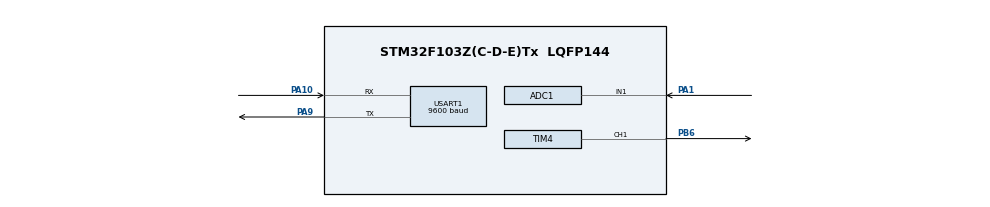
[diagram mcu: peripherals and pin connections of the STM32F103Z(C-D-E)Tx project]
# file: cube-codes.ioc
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ADC1.Channel-8\#ChannelRegularConversion=ADC_CHANNEL_1
ADC1.Channel-9\#ChannelInjectedConversion=ADC_CHANNEL_1
ADC1.ContinuousConvMode=ENABLE
ADC1.DataAlign=ADC_DATAALIGN_RIGHT
ADC1.DiscontinuousConvMode=DISABLE
ADC1.EnableAnalogWatchDog=false
ADC1.EnableRegularConversion=ENABLE
ADC1.ExternalTrigConv=ADC_SOFTWARE_START
ADC1.ExternalTrigInjecConv=ADC_INJECTED_SOFTWARE_START
ADC1.InjNumberOfConversion=1
ADC1.InjectedConvMode=None
ADC1.InjectedOffset-9\#ChannelInjectedConversion=0
ADC1.NbrOfConversion=1
ADC1.NbrOfConversionFlag=1
ADC1.Rank-8\#ChannelRegularConversion=1
ADC1.Rank-9\#ChannelInjectedConversion=1
ADC1.SamplingTime-8\#ChannelRegularConversion=ADC_SAMPLETIME_1CYCLE_5
ADC1.SamplingTime-9\#ChannelInjectedConversion=ADC_SAMPLETIME_1CYCLE_5
ADC1.ScanConvMode=ADC_SCAN_DISABLE
ADC1.master=1
Mcu.Family=STM32F1
Mcu.Name=STM32F103Z(C-D-E)Tx
Mcu.Package=LQFP144
NVIC.PriorityGroup=NVIC_PRIORITYGROUP_4
NVIC.USART1_IRQn=true\:0\:0\:false\:false\:true\:true
PA1.Signal=ADCx_IN1
PA10.Mode=Asynchronous
PA10.Signal=USART1_RX
PA9.Mode=Asynchronous
PA9.Signal=USART1_TX
PB6.Signal=S_TIM4_CH1
ProjectManager.HeapSize=0x200
ProjectManager.StackSize=0x400
ProjectManager.TargetToolchain=SW4STM32
RCC.APB1Freq_Value=8000000
RCC.APB2Freq_Value=8000000
SH.ADCx_IN1.0=ADC1_IN1,IN1
SH.S_TIM4_CH1.0=TIM4_CH1,PWM Generation1 CH1
TIM4.Channel-PWM\ Generation1\ CH1=TIM_CHANNEL_1
TIM4.Period=1000
TIM4.Prescaler=7200
USART1.BaudRate=9600
USART1.VirtualMode=VM_ASYNC
USART1.WordLength=WORDLENGTH_8B
VP_ADC1_TempSens_Input.Mode=IN-TempSens
VP_SYS_VS_ND.Mode=No_Debug
board=cube-codes

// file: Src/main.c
/**
  ******************************************************************************
  * @file           : main.c
  * @brief          : Main program body
  ******************************************************************************
  ** This notice applies to any and all portions of this file
  * that are not between comment pairs USER CODE BEGIN and
  * USER CODE END. Other portions of this file, whether
  * inserted by the user or by software development tools
  * are owned by their respective copyright owners.
  *
  * COPYRIGHT(c) 2018 STMicroelectronics
  *
  * Redistribution and use in source and binary forms, with or without modification,
  * are permitted provided that the following conditions are met:
  *   1. Redistributions of source code must retain the above copyright notice,
  *      this list of conditions and the following disclaimer.
  *   2. Redistributions in binary form must reproduce the above copyright notice,
  *      this list of conditions and the following disclaimer in the documentation
  *      and/or other materials provided with the distribution.
  *   3. Neither the name of STMicroelectronics nor the names of its contributors
  *      may be used to endorse or promote products derived from this software
  *      without specific prior written permission.
  *
  * THIS SOFTWARE IS PROVIDED BY THE COPYRIGHT HOLDERS AND CONTRIBUTORS "AS IS"
  * AND ANY EXPRESS OR IMPLIED WARRANTIES, INCLUDING, BUT NOT LIMITED TO, THE
  * IMPLIED WARRANTIES OF MERCHANTABILITY AND FITNESS FOR A PARTICULAR PURPOSE ARE
  * DISCLAIMED. IN NO EVENT SHALL THE COPYRIGHT HOLDER OR CONTRIBUTORS BE LIABLE
  * FOR ANY DIRECT, INDIRECT, INCIDENTAL, SPECIAL, EXEMPLARY, OR CONSEQUENTIAL
  * DAMAGES (INCLUDING, BUT NOT LIMITED TO, PROCUREMENT OF SUBSTITUTE GOODS OR
  * SERVICES; LOSS OF USE, DATA, OR PROFITS; OR BUSINESS INTERRUPTION) HOWEVER
  * CAUSED AND ON ANY THEORY OF LIABILITY, WHETHER IN CONTRACT, STRICT LIABILITY,
  * OR TORT (INCLUDING NEGLIGENCE OR OTHERWISE) ARISING IN ANY WAY OUT OF THE USE
  * OF THIS SOFTWARE, EVEN IF ADVISED OF THE POSSIBILITY OF SUCH DAMAGE.
  *
  ******************************************************************************
  */
#include "main.h"
#include "stm32f1xx_hal.h"
#include "dataConv.h"

ADC_HandleTypeDef hadc1;

TIM_HandleTypeDef htim4;

UART_HandleTypeDef huart1;

/* USER CODE BEGIN PV */
/* Private variables ---------------------------------------------------------*/

/* USER CODE END PV */

void SystemClock_Config(void);
static void MX_GPIO_Init(void);
static void MX_USART1_UART_Init(void);
static void MX_TIM4_Init(void);
static void MX_ADC1_Init(void);

void HAL_TIM_MspPostInit(TIM_HandleTypeDef *htim);

/* USER CODE BEGIN PFP */
/* Private function prototypes -----------------------------------------------*/

/* USER CODE END PFP */

int main(void)
{

  /* MCU Configuration----------------------------------------------------------*/

  /* Reset of all peripherals, Initializes the Flash interface and the Systick. */
  HAL_Init();

  /* Configure the system clock */
  SystemClock_Config();

  /* Initialize all configured peripherals */
  MX_GPIO_Init();
  MX_USART1_UART_Init();
  MX_TIM4_Init();
  MX_ADC1_Init();

  /* Infinite loop */
  /* USER CODE BEGIN WHILE */

  char dataId[10]="\n\n\n\n";
  uint32_t data[10]={1090,2034,1023,1023,1023};
  char dataBody[20]="\0";
  char dataFrame[dataFrameMaxLength]="\0";

  /*joinDataBody(dataBody,dataId,data);
  creatDataFrame(dataFrame,dataBody);*/

  char adcStr[6];
  uint16_t adcData[5];
  while (1)
  {
	  HAL_ADC_Start(&hadc1);

	  HAL_Delay(500);
	  dataFrame[0] = '\0';
	  HAL_ADC_PollForConversion(&hadc1,0xfff);
	  data[0]=HAL_ADC_GetValue(&hadc1);
/*
	  if(HAL_IS_BIT_SET(HAL_ADC_GetState(&hadc1), HAL_ADC_STATE_REG_EOC))
	  {
	  }*/

      joinDataBody(dataBody,dataId,data);
      creatDataFrame(dataFrame,dataBody);

      char *TxData;
      sprintf(TxData,)
	  HAL_UART_Transmit(&huart1,TxData,24,0xffff);

  /* USER CODE END WHILE */

  }

}

void SystemClock_Config(void)
{

  RCC_OscInitTypeDef RCC_OscInitStruct;
  RCC_ClkInitTypeDef RCC_ClkInitStruct;
  RCC_PeriphCLKInitTypeDef PeriphClkInit;

    /**Initializes the CPU, AHB and APB busses clocks
    */
  RCC_OscInitStruct.OscillatorType = RCC_OSCILLATORTYPE_HSI;
  RCC_OscInitStruct.HSIState = RCC_HSI_ON;
  RCC_OscInitStruct.HSICalibrationValue = 16;
  RCC_OscInitStruct.PLL.PLLState = RCC_PLL_NONE;
  if (HAL_RCC_OscConfig(&RCC_OscInitStruct) != HAL_OK)
  {
    _Error_Handler(__FILE__, __LINE__);
  }

    /**Initializes the CPU, AHB and APB busses clocks
    */
  RCC_ClkInitStruct.ClockType = RCC_CLOCKTYPE_HCLK|RCC_CLOCKTYPE_SYSCLK
                              |RCC_CLOCKTYPE_PCLK1|RCC_CLOCKTYPE_PCLK2;
  RCC_ClkInitStruct.SYSCLKSource = RCC_SYSCLKSOURCE_HSI;
  RCC_ClkInitStruct.AHBCLKDivider = RCC_SYSCLK_DIV1;
  RCC_ClkInitStruct.APB1CLKDivider = RCC_HCLK_DIV1;
  RCC_ClkInitStruct.APB2CLKDivider = RCC_HCLK_DIV1;

  if (HAL_RCC_ClockConfig(&RCC_ClkInitStruct, FLASH_LATENCY_0) != HAL_OK)
  {
    _Error_Handler(__FILE__, __LINE__);
  }

  PeriphClkInit.PeriphClockSelection = RCC_PERIPHCLK_ADC;
  PeriphClkInit.AdcClockSelection = RCC_ADCPCLK2_DIV2;
  if (HAL_RCCEx_PeriphCLKConfig(&PeriphClkInit) != HAL_OK)
  {
    _Error_Handler(__FILE__, __LINE__);
  }

    /**Configure the Systick interrupt time
    */
  HAL_SYSTICK_Config(HAL_RCC_GetHCLKFreq()/1000);

    /**Configure the Systick
    */
  HAL_SYSTICK_CLKSourceConfig(SYSTICK_CLKSOURCE_HCLK);

  /* SysTick_IRQn interrupt configuration */
  HAL_NVIC_SetPriority(SysTick_IRQn, 0, 0);
}

/* ADC1 init function */
static void MX_ADC1_Init(void)
{

  ADC_ChannelConfTypeDef sConfig;
  ADC_InjectionConfTypeDef sConfigInjected;

    /**Common config
    */
  hadc1.Instance = ADC1;
  hadc1.Init.ScanConvMode = ADC_SCAN_DISABLE;
  hadc1.Init.ContinuousConvMode = ENABLE;
  hadc1.Init.DiscontinuousConvMode = DISABLE;
  hadc1.Init.ExternalTrigConv = ADC_SOFTWARE_START;
  hadc1.Init.DataAlign = ADC_DATAALIGN_RIGHT;
  hadc1.Init.NbrOfConversion = 1;
  if (HAL_ADC_Init(&hadc1) != HAL_OK)
  {
    _Error_Handler(__FILE__, __LINE__);
  }

    /**Configure Regular Channel
    */
  sConfig.Channel = ADC_CHANNEL_1;
  sConfig.Rank = ADC_REGULAR_RANK_1;
  sConfig.SamplingTime = ADC_SAMPLETIME_1CYCLE_5;
  if (HAL_ADC_ConfigChannel(&hadc1, &sConfig) != HAL_OK)
  {
    _Error_Handler(__FILE__, __LINE__);
  }

    /**Configure Injected Channel
    */
  sConfigInjected.InjectedChannel = ADC_CHANNEL_1;
  sConfigInjected.InjectedRank = ADC_INJECTED_RANK_1;
  sConfigInjected.InjectedNbrOfConversion = 1;
  sConfigInjected.InjectedSamplingTime = ADC_SAMPLETIME_1CYCLE_5;
  sConfigInjected.ExternalTrigInjecConv = ADC_INJECTED_SOFTWARE_START;
  sConfigInjected.AutoInjectedConv = DISABLE;
  sConfigInjected.InjectedDiscontinuousConvMode = DISABLE;
  sConfigInjected.InjectedOffset = 0;
  if (HAL_ADCEx_InjectedConfigChannel(&hadc1, &sConfigInjected) != HAL_OK)
  {
    _Error_Handler(__FILE__, __LINE__);
  }

}

/* TIM4 init function */
static void MX_TIM4_Init(void)
{

  TIM_MasterConfigTypeDef sMasterConfig;
  TIM_OC_InitTypeDef sConfigOC;

  htim4.Instance = TIM4;
  htim4.Init.Prescaler = 7200;
  htim4.Init.CounterMode = TIM_COUNTERMODE_UP;
  htim4.Init.Period = 1000;
  htim4.Init.ClockDivision = TIM_CLOCKDIVISION_DIV1;
  htim4.Init.AutoReloadPreload = TIM_AUTORELOAD_PRELOAD_DISABLE;
  if (HAL_TIM_PWM_Init(&htim4) != HAL_OK)
  {
    _Error_Handler(__FILE__, __LINE__);
  }

  sMasterConfig.MasterOutputTrigger = TIM_TRGO_RESET;
  sMasterConfig.MasterSlaveMode = TIM_MASTERSLAVEMODE_DISABLE;
  if (HAL_TIMEx_MasterConfigSynchronization(&htim4, &sMasterConfig) != HAL_OK)
  {
    _Error_Handler(__FILE__, __LINE__);
  }

  sConfigOC.OCMode = TIM_OCMODE_PWM1;
  sConfigOC.Pulse = 0;
  sConfigOC.OCPolarity = TIM_OCPOLARITY_HIGH;
  sConfigOC.OCFastMode = TIM_OCFAST_DISABLE;
  if (HAL_TIM_PWM_ConfigChannel(&htim4, &sConfigOC, TIM_CHANNEL_1) != HAL_OK)
  {
    _Error_Handler(__FILE__, __LINE__);
  }

  HAL_TIM_MspPostInit(&htim4);

}

/* USART1 init function */
static void MX_USART1_UART_Init(void)
{

  huart1.Instance = USART1;
  huart1.Init.BaudRate = 9600;
  huart1.Init.WordLength = UART_WORDLENGTH_8B;
  huart1.Init.StopBits = UART_STOPBITS_1;
  huart1.Init.Parity = UART_PARITY_NONE;
  huart1.Init.Mode = UART_MODE_TX_RX;
  huart1.Init.HwFlowCtl = UART_HWCONTROL_NONE;
  huart1.Init.OverSampling = UART_OVERSAMPLING_16;
  if (HAL_UART_Init(&huart1) != HAL_OK)
  {
    _Error_Handler(__FILE__, __LINE__);
  }

}

/** Pinout Configuration
*/
static void MX_GPIO_Init(void)
{

  /* GPIO Ports Clock Enable */
  __HAL_RCC_GPIOA_CLK_ENABLE();
  __HAL_RCC_GPIOB_CLK_ENABLE();

}

void _Error_Handler(char *file, int line)
{
  while(1)
  {
  }
}

/************************ (C) COPYRIGHT STMicroelectronics *****END OF FILE****/
